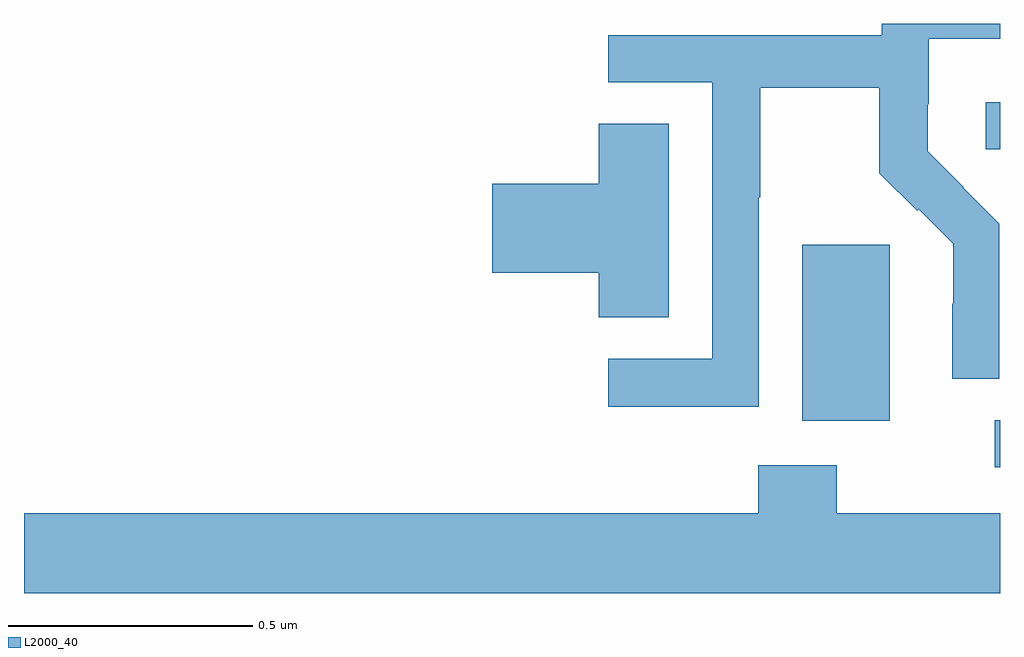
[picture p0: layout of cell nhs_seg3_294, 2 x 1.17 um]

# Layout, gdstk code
import gdstk
lib = gdstk.Library(unit=1e-6, precision=1e-09)
def R(c, l, rs):  # rectangles x0, y0, x1, y1
    for r in rs: c.add(gdstk.rectangle(r[:2], r[2:], *l))
def P(c, l, *ps):  # polygons
    for p in ps: c.add(gdstk.Polygon(p, *l))
L2000_40 = (2000, 40)

nhs_seg3_294 = lib.new_cell('nhs_seg3_294')
R(nhs_seg3_294, L2000_40, [(115.989,718.491,116,718.587), (115.595,718.586,115.774,718.947), (115.971,719.142,116,719.239)])
P(nhs_seg3_294, L2000_40, [(115.506,719.044),(115.509,719.044),(115.509,719.268),(115.753,719.268),(115.753,719.093),(115.83,719.016),(115.833,719.019),(115.904,718.949),(115.904,718.826),(115.902,718.826),(115.902,718.672),(115.998,718.672),(115.998,718.99),(115.925,719.063),(115.926,719.064),(115.852,719.138),(115.852,719.235),(115.854,719.235),(115.854,719.369),(116,719.369),(116,719.4),(115.758,719.4),(115.758,719.376),(115.197,719.376),(115.197,719.28),(115.41,719.28),(115.41,718.713),(115.197,718.713),(115.197,718.615),(115.506,718.615)],
  [(115.321,719.195),(115.178,719.195),(115.178,719.072),(114.96,719.072),(114.96,718.889),(115.178,718.889),(115.178,718.798),(115.321,718.798)],
  [(116,718.396),(115.665,718.396),(115.665,718.495),(115.505,718.495),(115.505,718.396),(114,718.396),(114,718.232),(116,718.232)])

lib.write_gds('nhs_seg3_294.gds')
